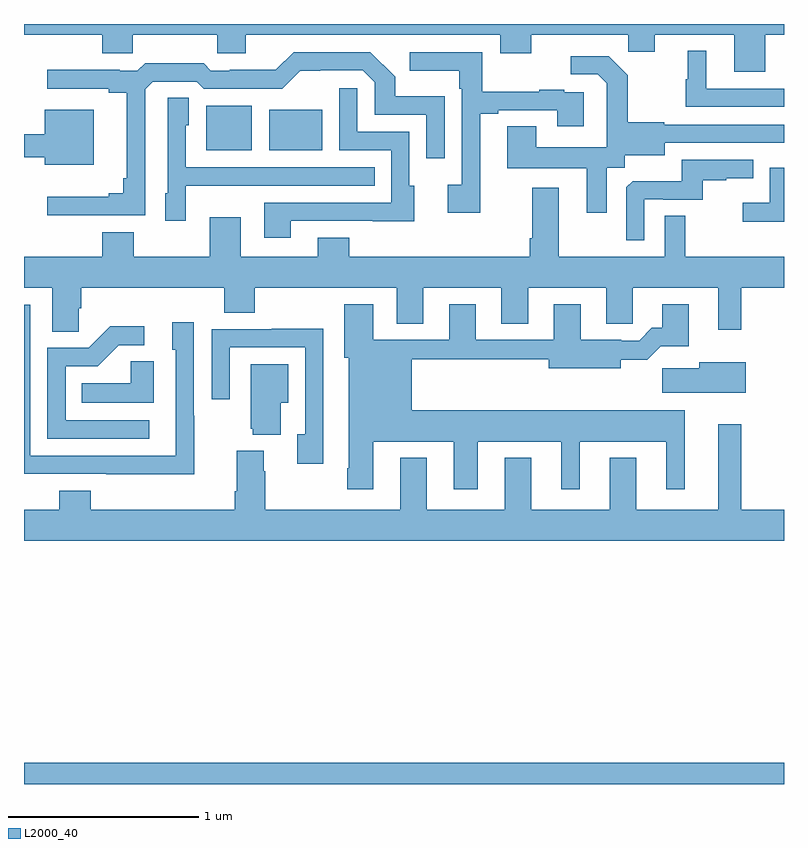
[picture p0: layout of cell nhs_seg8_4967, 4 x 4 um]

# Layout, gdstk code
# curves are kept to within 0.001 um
import gdstk
lib = gdstk.Library(unit=1e-6, precision=1e-09)
def R(c, l, rs):  # rectangles x0, y0, x1, y1
    for r in rs: c.add(gdstk.rectangle(r[:2], r[2:], *l))
def P(c, l, *ps):  # polygons
    for p in ps: c.add(gdstk.Polygon(p, *l))
L2000_40 = (2000, 40)

nhs_seg8_4967 = lib.new_cell('nhs_seg8_4967')
R(nhs_seg8_4967, L2000_40, [(411,1101.9,415,1102.012), (411.959,1105.235,412.198,1105.471), (412.292,1105.235,412.57,1105.45)])
P(nhs_seg8_4967, L2000_40, [(414.901,1105.844),(415,1105.844),(415,1105.9),(411,1105.9),(411,1105.844),(411.413,1105.844),(411.413,1105.746),(411.573,1105.746),(411.573,1105.844),(412.018,1105.844),(412.018,1105.746),(412.168,1105.746),(412.168,1105.844),(413.507,1105.844),(413.507,1105.745),(413.671,1105.745),(413.671,1105.844),(414.181,1105.844),(414.181,1105.754),(414.319,1105.754),(414.319,1105.844),(414.737,1105.844),(414.737,1105.65),(414.901,1105.65)],
  [(415,1105.56),(414.592,1105.56),(414.592,1105.759),(414.494,1105.759),(414.494,1105.608),(414.483,1105.608),(414.483,1105.464),(415,1105.464)],
  [(411.639,1105.557),(411.678,1105.596),(411.909,1105.596),(411.945,1105.56),(412.359,1105.56),(412.454,1105.655),(412.782,1105.656),(412.845,1105.593),(412.845,1105.422),(413.118,1105.422),(413.118,1105.194),(413.214,1105.194),(413.214,1105.519),(412.953,1105.519),(412.953,1105.622),(412.822,1105.752),(412.419,1105.752),(412.325,1105.658),(412.084,1105.658),(412.084,1105.653),(411.984,1105.653),(411.945,1105.693),(411.637,1105.693),(411.597,1105.653),(411.503,1105.653),(411.503,1105.658),(411.123,1105.658),(411.123,1105.56),(411.446,1105.56),(411.446,1105.538),(411.542,1105.538),(411.542,1105.087),(411.523,1105.087),(411.523,1105.01),(411.446,1105.01),(411.446,1104.991),(411.123,1104.991),(411.123,1104.894),(411.639,1104.894)],
  [(413.401,1105.428),(413.497,1105.428),(413.497,1105.446),(413.807,1105.446),(413.807,1105.362),(413.947,1105.362),(413.947,1105.542),(413.843,1105.542),(413.843,1105.555),(413.711,1105.555),(413.711,1105.544),(413.413,1105.544),(413.413,1105.752),(413.031,1105.752),(413.031,1105.655),(413.292,1105.655),(413.292,1105.559),(413.304,1105.559),(413.304,1105.054),(413.229,1105.054),(413.229,1104.906),(413.401,1104.906)],
  [(414.067,1105.144),(414.162,1105.144),(414.162,1105.208),(414.373,1105.208),(414.373,1105.275),(415,1105.274),(415,1105.371),(414.369,1105.371),(414.369,1105.384),(414.177,1105.384),(414.177,1105.629),(414.077,1105.729),(413.877,1105.729),(413.877,1105.635),(414.021,1105.635),(414.068,1105.588),(414.068,1105.493),(414.066,1105.493),(414.066,1105.252),(413.695,1105.252),(413.695,1105.361),(413.543,1105.361),(413.543,1105.142),(413.963,1105.142),(413.963,1104.906),(414.067,1104.906)],
  [(412.405,1104.864),(412.835,1104.864),(412.835,1104.863),(413.053,1104.863),(413.053,1105.05),(413.028,1105.05),(413.028,1105.332),(412.755,1105.332),(412.755,1105.561),(412.659,1105.561),(412.659,1105.236),(412.932,1105.236),(412.932,1104.96),(412.265,1104.96),(412.265,1104.774),(412.405,1104.774)],
  [(411.852,1105.049),(412.169,1105.049),(412.169,1105.05),(412.847,1105.05),(412.847,1105.146),(411.852,1105.146),(411.852,1105.368),(411.868,1105.368),(411.868,1105.511),(411.756,1105.511),(411.756,1105.008),(411.743,1105.008),(411.743,1104.864),(411.852,1104.864)],
  [(411.367,1105.45),(411.11,1105.45),(411.11,1105.321),(411,1105.321),(411,1105.199),(411.11,1105.199),(411.11,1105.16),(411.367,1105.16)],
  [(414.264,1104.978),(414.364,1104.978),(414.364,1104.975),(414.572,1104.975),(414.572,1105.077),(414.695,1105.077),(414.695,1105.088),(414.839,1105.088),(414.839,1105.185),(414.462,1105.185),(414.462,1105.073),(414.203,1105.073),(414.171,1105.041),(414.171,1104.761),(414.264,1104.761)],
  [(415,1105.143),(414.924,1105.143),(414.924,1104.958),(414.783,1104.958),(414.783,1104.86),(415,1104.86)],
  [(411.288,1104.403),(411.302,1104.403),(411.302,1104.512),(412.055,1104.512),(412.055,1104.379),(412.215,1104.379),(412.215,1104.512),(412.961,1104.512),(412.961,1104.322),(413.101,1104.322),(413.101,1104.512),(413.513,1104.512),(413.513,1104.322),(413.653,1104.322),(413.653,1104.512),(414.065,1104.512),(414.065,1104.322),(414.204,1104.322),(414.204,1104.512),(414.653,1104.512),(414.653,1104.291),(414.775,1104.291),(414.775,1104.512),(415,1104.512),(415,1104.676),(414.481,1104.676),(414.481,1104.89),(414.372,1104.89),(414.372,1104.676),(413.815,1104.676),(413.815,1105.039),(413.675,1105.039),(413.675,1104.772),(413.663,1104.772),(413.663,1104.676),(412.711,1104.676),(412.711,1104.775),(412.547,1104.775),(412.547,1104.676),(412.141,1104.676),(412.141,1104.883),(411.977,1104.883),(411.977,1104.676),(411.577,1104.676),(411.577,1104.805),(411.413,1104.805),(411.413,1104.676),(411,1104.676),(411,1104.512),(411.149,1104.512),(411.149,1104.28),(411.288,1104.28)],
  [(412.837,1103.702),(413.261,1103.702),(413.261,1103.451),(413.389,1103.451),(413.389,1103.702),(413.828,1103.702),(413.828,1103.451),(413.926,1103.451),(413.926,1103.702),(414.38,1103.702),(414.38,1103.451),(414.478,1103.451),(414.478,1103.866),(413.041,1103.866),(413.041,1104.136),(413.762,1104.136),(413.762,1104.089),(414.142,1104.089),(414.142,1104.134),(414.281,1104.134),(414.35,1104.203),(414.499,1104.203),(414.499,1104.424),(414.359,1104.424),(414.359,1104.301),(414.304,1104.301),(414.237,1104.234),(414.143,1104.234),(414.143,1104.237),(413.929,1104.237),(413.929,1104.424),(413.789,1104.424),(413.789,1104.237),(413.377,1104.237),(413.377,1104.424),(413.237,1104.424),(413.237,1104.237),(412.837,1104.237),(412.837,1104.424),(412.685,1104.424),(412.685,1104.144),(412.709,1104.144),(412.709,1103.563),(412.702,1103.563),(412.702,1103.451),(412.837,1103.451)],
  [(411.897,1103.837),(411.894,1103.837),(411.894,1104.331),(411.779,1104.331),(411.779,1104.186),(411.798,1104.186),(411.798,1103.628),(411.033,1103.628),(411.033,1104.423),(411,1104.423),(411,1103.532),(411.433,1103.532),(411.433,1103.531),(411.897,1103.531)],
  [(411.658,1103.814),(411.219,1103.814),(411.219,1104.099),(411.388,1104.099),(411.499,1104.21),(411.634,1104.21),(411.634,1104.308),(411.455,1104.308),(411.342,1104.195),(411.123,1104.195),(411.123,1103.718),(411.658,1103.718)],
  [(412.576,1104.044),(412.575,1104.044),(412.575,1104.296),(412.303,1104.296),(412.303,1104.294),(411.987,1104.294),(411.987,1103.925),(412.083,1103.925),(412.083,1104.198),(412.479,1104.198),(412.479,1103.742),(412.439,1103.742),(412.439,1103.586),(412.576,1103.586)],
  [(411.682,1104.125),(411.561,1104.125),(411.561,1104.01),(411.304,1104.01),(411.304,1103.906),(411.682,1103.906)],
  [(414.799,1104.121),(414.554,1104.121),(414.554,1104.089),(414.36,1104.089),(414.36,1103.96),(414.799,1103.96)],
  [(412.351,1103.906),(412.39,1103.906),(412.39,1104.109),(412.193,1104.109),(412.193,1103.769),(412.205,1103.769),(412.205,1103.738),(412.351,1103.738)],
  [(415,1103.344),(414.775,1103.344),(414.775,1103.794),(414.653,1103.794),(414.653,1103.344),(414.223,1103.344),(414.223,1103.617),(414.083,1103.617),(414.083,1103.344),(413.671,1103.344),(413.671,1103.617),(413.531,1103.617),(413.531,1103.344),(413.119,1103.344),(413.119,1103.617),(412.979,1103.617),(412.979,1103.344),(412.269,1103.344),(412.269,1103.546),(412.261,1103.546),(412.261,1103.653),(412.121,1103.653),(412.121,1103.44),(412.109,1103.44),(412.109,1103.344),(411.35,1103.344),(411.35,1103.443),(411.185,1103.443),(411.185,1103.344),(411,1103.344),(411,1103.18),(415,1103.18)])

lib.write_gds('nhs_seg8_4967.gds')
